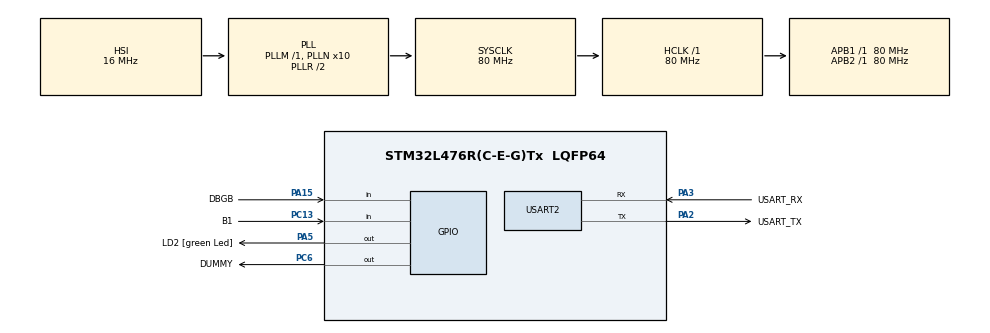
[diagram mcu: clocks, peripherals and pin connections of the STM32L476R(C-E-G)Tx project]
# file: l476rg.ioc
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Mcu.Family=STM32L4
Mcu.Name=STM32L476R(C-E-G)Tx
Mcu.Package=LQFP64
NVIC.PriorityGroup=NVIC_PRIORITYGROUP_4
NVIC.TIM3_IRQn=true\:0\:0\:false\:false\:true\:true\:true\:true
PA13\ (JTMS-SWDIO).GPIO_Label=TMS
PA13\ (JTMS-SWDIO).Mode=Serial_Wire
PA13\ (JTMS-SWDIO).Signal=SYS_JTMS-SWDIO
PA14\ (JTCK-SWCLK).GPIO_Label=TCK
PA14\ (JTCK-SWCLK).Mode=Serial_Wire
PA14\ (JTCK-SWCLK).Signal=SYS_JTCK-SWCLK
PA15\ (JTDI).GPIO_Label=DBGB
PA15\ (JTDI).Signal=GPIO_Input
PA2.GPIO_Label=USART_TX
PA2.GPIO_Mode=GPIO_MODE_AF_PP
PA2.GPIO_PuPd=GPIO_NOPULL
PA2.GPIO_Speed=GPIO_SPEED_FREQ_VERY_HIGH
PA2.Mode=Asynchronous
PA2.Signal=USART2_TX
PA3.GPIO_Label=USART_RX
PA3.GPIO_Mode=GPIO_MODE_AF_PP
PA3.GPIO_PuPd=GPIO_NOPULL
PA3.GPIO_Speed=GPIO_SPEED_FREQ_VERY_HIGH
PA3.Mode=Asynchronous
PA3.Signal=USART2_RX
PA5.GPIO_Label=LD2 [green Led]
PA5.GPIO_ModeDefaultOutputPP=GPIO_MODE_OUTPUT_PP
PA5.GPIO_PuPd=GPIO_NOPULL
PA5.GPIO_Speed=GPIO_SPEED_FREQ_LOW
PA5.Signal=GPIO_Output
PB3\ (JTDO-TRACESWO).GPIO_Label=SWO
PB3\ (JTDO-TRACESWO).Signal=SYS_JTDO-SWO
PC13.GPIO_Label=B1
PC13.Signal=GPIO_Input
PC14-OSC32_IN\ (PC14).Mode=LSE-External-Oscillator
PC14-OSC32_IN\ (PC14).Signal=RCC_OSC32_IN
PC15-OSC32_OUT\ (PC15).Mode=LSE-External-Oscillator
PC15-OSC32_OUT\ (PC15).Signal=RCC_OSC32_OUT
PC6.GPIO_Label=DUMMY
PC6.Signal=GPIO_Output
PH0-OSC_IN\ (PH0).Signal=RCC_OSC_IN
PH1-OSC_OUT\ (PH1).Signal=RCC_OSC_OUT
ProjectManager.HeapSize=0x200
ProjectManager.StackSize=0x400
ProjectManager.TargetToolchain=STM32CubeIDE
RCC.ADCFreq_Value=64000000
RCC.AHBFreq_Value=80000000
RCC.APB1Freq_Value=80000000
RCC.APB1TimFreq_Value=80000000
RCC.APB2Freq_Value=80000000
RCC.APB2TimFreq_Value=80000000
RCC.CortexFreq_Value=80000000
RCC.HCLKFreq_Value=80000000
RCC.HSE_VALUE=8000000
RCC.HSI_VALUE=16000000
RCC.MSI_VALUE=4000000
RCC.PLLN=10
RCC.PLLSourceVirtual=RCC_PLLSOURCE_HSI
RCC.PREFETCH_ENABLE=1
RCC.SYSCLKFreq_VALUE=80000000
RCC.SYSCLKSource=RCC_SYSCLKSOURCE_PLLCLK
RCC.USBFreq_Value=64000000
RCC.VCOOutputFreq_Value=160000000
TIM3.Channel-Output\ Compare1\ No\ Output=TIM_CHANNEL_1
TIM3.Period=1999
TIM3.Prescaler=7999
USART2.VirtualMode-Asynchronous=VM_ASYNC
VP_TIM3_VS_ClockSourceINT.Mode=Internal
VP_TIM3_VS_no_output1.Mode=Output Compare1 No Output
board=NUCLEO-L476RG

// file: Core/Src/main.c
/* USER CODE BEGIN Header */
/**
 ******************************************************************************
 * @file           : main.c
 * @brief          : Main program body
 ******************************************************************************
 * @attention
 *
 * Copyright (c) 2023 STMicroelectronics.
 * All rights reserved.
 *
 * This software is licensed under terms that can be found in the LICENSE file
 * in the root directory of this software component.
 * If no LICENSE file comes with this software, it is provided AS-IS.
 *
 ******************************************************************************
 */
/* USER CODE END Header */
#include "main.h"

/* USER CODE BEGIN Includes */
#include <stdio.h>
#include <stdlib.h>
#include <string.h>

#include "helpers.h"
/* USER CODE END Includes */

/* USER CODE BEGIN PM */
#define LINE_MAX_LENGTH 80
#define BACKSPACE 127

#define ON 1
#define OFF 0
/* USER CODE END PM */

TIM_HandleTypeDef htim3;

UART_HandleTypeDef huart2;

void SystemClock_Config(void);
static void MX_GPIO_Init(void);
static void MX_USART2_UART_Init(void);
static void MX_TIM3_Init(void);
/* USER CODE BEGIN PFP */
int __io_putchar(int);
int input(char *, char *);
int blink(int);
void set_mode();

/* USER CODE END PFP */

/* USER CODE BEGIN 0 */
int _debug_mode;
volatile uint32_t captured_value;
void HAL_TIM_PeriodElapsedCallback(TIM_HandleTypeDef *htim)
{
    if (htim == &htim3)
        HAL_GPIO_TogglePin(LD2_GPIO_Port, LD2_Pin);
}
/* USER CODE END 0 */

int main(void)
{

  /* MCU Configuration--------------------------------------------------------*/

  /* Reset of all peripherals, Initializes the Flash interface and the Systick. */
  HAL_Init();

  /* Configure the system clock */
  SystemClock_Config();

  /* Initialize all configured peripherals */
  MX_GPIO_Init();
  MX_USART2_UART_Init();
  MX_TIM3_Init();
  /* USER CODE BEGIN 2 */
    set_mode();
    HAL_GPIO_WritePin(GREEN_LED_GPIO_Port, GREEN_LED_Pin, GPIO_PIN_RESET);
    HAL_GPIO_WritePin(YELLOW_LED_GPIO_Port, YELLOW_LED_Pin, GPIO_PIN_RESET);

    HAL_TIM_Base_Start_IT(&htim3);
    HAL_TIM_PWM_Start(&htim3, TIM_CHANNEL_1);
    HAL_TIM_PWM_Start(&htim3, TIM_CHANNEL_2);
  /* USER CODE END 2 */

  /* Infinite loop */
  /* USER CODE BEGIN WHILE */
    while (ON) {
    /* USER CODE END WHILE */

    }
}

void SystemClock_Config(void)
{
  RCC_OscInitTypeDef RCC_OscInitStruct = {0};
  RCC_ClkInitTypeDef RCC_ClkInitStruct = {0};

  /** Configure the main internal regulator output voltage
  */
  if (HAL_PWREx_ControlVoltageScaling(PWR_REGULATOR_VOLTAGE_SCALE1) != HAL_OK)
  {
    Error_Handler();
  }

  /** Initializes the RCC Oscillators according to the specified parameters
  * in the RCC_OscInitTypeDef structure.
  */
  RCC_OscInitStruct.OscillatorType = RCC_OSCILLATORTYPE_HSI;
  RCC_OscInitStruct.HSIState = RCC_HSI_ON;
  RCC_OscInitStruct.HSICalibrationValue = RCC_HSICALIBRATION_DEFAULT;
  RCC_OscInitStruct.PLL.PLLState = RCC_PLL_ON;
  RCC_OscInitStruct.PLL.PLLSource = RCC_PLLSOURCE_HSI;
  RCC_OscInitStruct.PLL.PLLM = 1;
  RCC_OscInitStruct.PLL.PLLN = 10;
  RCC_OscInitStruct.PLL.PLLP = RCC_PLLP_DIV7;
  RCC_OscInitStruct.PLL.PLLQ = RCC_PLLQ_DIV2;
  RCC_OscInitStruct.PLL.PLLR = RCC_PLLR_DIV2;
  if (HAL_RCC_OscConfig(&RCC_OscInitStruct) != HAL_OK)
  {
    Error_Handler();
  }

  /** Initializes the CPU, AHB and APB buses clocks
  */
  RCC_ClkInitStruct.ClockType = RCC_CLOCKTYPE_HCLK|RCC_CLOCKTYPE_SYSCLK
                              |RCC_CLOCKTYPE_PCLK1|RCC_CLOCKTYPE_PCLK2;
  RCC_ClkInitStruct.SYSCLKSource = RCC_SYSCLKSOURCE_PLLCLK;
  RCC_ClkInitStruct.AHBCLKDivider = RCC_SYSCLK_DIV1;
  RCC_ClkInitStruct.APB1CLKDivider = RCC_HCLK_DIV1;
  RCC_ClkInitStruct.APB2CLKDivider = RCC_HCLK_DIV1;

  if (HAL_RCC_ClockConfig(&RCC_ClkInitStruct, FLASH_LATENCY_4) != HAL_OK)
  {
    Error_Handler();
  }
}

static void MX_TIM3_Init(void)
{

  TIM_ClockConfigTypeDef sClockSourceConfig = {0};
  TIM_MasterConfigTypeDef sMasterConfig = {0};
  TIM_OC_InitTypeDef sConfigOC = {0};

  htim3.Instance = TIM3;
  htim3.Init.Prescaler = 7999;
  htim3.Init.CounterMode = TIM_COUNTERMODE_UP;
  htim3.Init.Period = 1999;
  htim3.Init.ClockDivision = TIM_CLOCKDIVISION_DIV1;
  htim3.Init.AutoReloadPreload = TIM_AUTORELOAD_PRELOAD_DISABLE;
  if (HAL_TIM_Base_Init(&htim3) != HAL_OK)
  {
    Error_Handler();
  }
  sClockSourceConfig.ClockSource = TIM_CLOCKSOURCE_INTERNAL;
  if (HAL_TIM_ConfigClockSource(&htim3, &sClockSourceConfig) != HAL_OK)
  {
    Error_Handler();
  }
  if (HAL_TIM_OC_Init(&htim3) != HAL_OK)
  {
    Error_Handler();
  }
  sMasterConfig.MasterOutputTrigger = TIM_TRGO_RESET;
  sMasterConfig.MasterSlaveMode = TIM_MASTERSLAVEMODE_DISABLE;
  if (HAL_TIMEx_MasterConfigSynchronization(&htim3, &sMasterConfig) != HAL_OK)
  {
    Error_Handler();
  }
  sConfigOC.OCMode = TIM_OCMODE_TIMING;
  sConfigOC.Pulse = 0;
  sConfigOC.OCPolarity = TIM_OCPOLARITY_HIGH;
  sConfigOC.OCFastMode = TIM_OCFAST_DISABLE;
  if (HAL_TIM_OC_ConfigChannel(&htim3, &sConfigOC, TIM_CHANNEL_1) != HAL_OK)
  {
    Error_Handler();
  }

}

static void MX_USART2_UART_Init(void)
{

  huart2.Instance = USART2;
  huart2.Init.BaudRate = 115200;
  huart2.Init.WordLength = UART_WORDLENGTH_8B;
  huart2.Init.StopBits = UART_STOPBITS_1;
  huart2.Init.Parity = UART_PARITY_NONE;
  huart2.Init.Mode = UART_MODE_TX_RX;
  huart2.Init.HwFlowCtl = UART_HWCONTROL_NONE;
  huart2.Init.OverSampling = UART_OVERSAMPLING_16;
  huart2.Init.OneBitSampling = UART_ONE_BIT_SAMPLE_DISABLE;
  huart2.AdvancedInit.AdvFeatureInit = UART_ADVFEATURE_NO_INIT;
  if (HAL_UART_Init(&huart2) != HAL_OK)
  {
    Error_Handler();
  }

}

static void MX_GPIO_Init(void)
{
  GPIO_InitTypeDef GPIO_InitStruct = {0};

  /* GPIO Ports Clock Enable */
  __HAL_RCC_GPIOC_CLK_ENABLE();
  __HAL_RCC_GPIOH_CLK_ENABLE();
  __HAL_RCC_GPIOA_CLK_ENABLE();
  __HAL_RCC_GPIOB_CLK_ENABLE();

  /*Configure GPIO pin Output Level */
  HAL_GPIO_WritePin(LD2_GPIO_Port, LD2_Pin, GPIO_PIN_RESET);

  /*Configure GPIO pin Output Level */
  HAL_GPIO_WritePin(DUMMY_GPIO_Port, DUMMY_Pin, GPIO_PIN_RESET);

  /*Configure GPIO pin : B1_Pin */
  GPIO_InitStruct.Pin = B1_Pin;
  GPIO_InitStruct.Mode = GPIO_MODE_INPUT;
  GPIO_InitStruct.Pull = GPIO_NOPULL;
  HAL_GPIO_Init(B1_GPIO_Port, &GPIO_InitStruct);

  /*Configure GPIO pin : LD2_Pin */
  GPIO_InitStruct.Pin = LD2_Pin;
  GPIO_InitStruct.Mode = GPIO_MODE_OUTPUT_PP;
  GPIO_InitStruct.Pull = GPIO_NOPULL;
  GPIO_InitStruct.Speed = GPIO_SPEED_FREQ_LOW;
  HAL_GPIO_Init(LD2_GPIO_Port, &GPIO_InitStruct);

  /*Configure GPIO pin : DUMMY_Pin */
  GPIO_InitStruct.Pin = DUMMY_Pin;
  GPIO_InitStruct.Mode = GPIO_MODE_OUTPUT_PP;
  GPIO_InitStruct.Pull = GPIO_NOPULL;
  GPIO_InitStruct.Speed = GPIO_SPEED_FREQ_LOW;
  HAL_GPIO_Init(DUMMY_GPIO_Port, &GPIO_InitStruct);

  /*Configure GPIO pin : DBGB_Pin */
  GPIO_InitStruct.Pin = DBGB_Pin;
  GPIO_InitStruct.Mode = GPIO_MODE_INPUT;
  GPIO_InitStruct.Pull = GPIO_NOPULL;
  HAL_GPIO_Init(DBGB_GPIO_Port, &GPIO_InitStruct);

}

/* USER CODE BEGIN 4 */
int __io_putchar(int ch)
{
    if (ch == '\n') {
        uint8_t cr = '\r';
        HAL_UART_Transmit(&huart2, &cr, 1, HAL_MAX_DELAY);
    }

    HAL_UART_Transmit(&huart2, (uint8_t *)&ch, 1, HAL_MAX_DELAY);
    return 1;
}

int input(char *buffer, char *prompt)
{
    if (prompt == NULL)
        printf("> ");
    else
        printf(prompt);
    fflush(stdout);

    uint8_t value = -1;
    int line_length = 0;
    while (value != '\r' && value != '\n') {
        HAL_UART_Receive(&huart2, &value, 1, HAL_MAX_DELAY);
        if (value == BACKSPACE) {
            printf("\b \b");
            fflush(stdout);
            line_length--;
        } else if (line_length <= LINE_MAX_LENGTH) {
            // TODO: Replace with macros if mem usage is to high
            printf(!_debug_mode ? "%c" : "%d", value);
            fflush(stdout);
            buffer[line_length++] = value;
        } else {
            buffer[line_length] = '\0';
            printf("\nERROR\n");
            return 1;
        }
    }
    printf("\n");

    buffer[line_length - 1] = '\0';
    return 0;
}

// TODO: assign constant GPIO pin or remove
void set_mode()
{
    if (is_pressed(B1_GPIO_Port, B1_Pin))
        _debug_mode = ON;

    else
        _debug_mode = OFF;

    if (_debug_mode)
        blink(3);
}
/* USER CODE END 4 */

void Error_Handler(void)
{
  /* USER CODE BEGIN Error_Handler_Debug */
    /* User can add his own implementation to report the HAL error return
     * state */
    __disable_irq();
    while (1) {
    }
  /* USER CODE END Error_Handler_Debug */
}

#ifdef  USE_FULL_ASSERT
/**
  * @brief  Reports the name of the source file and the source line number
  *         where the assert_param error has occurred.
  * @param  file: pointer to the source file name
  * @param  line: assert_param error line source number
  * @retval None
  */
void assert_failed(uint8_t *file, uint32_t line)
{
  /* USER CODE BEGIN 6 */
    /* User can add his own implementation to report the file name and line
       number, ex: printf("Wrong parameters value: file %s on line %d\r\n",
       file, line) */
  /* USER CODE END 6 */
}
#endif /* USE_FULL_ASSERT */
